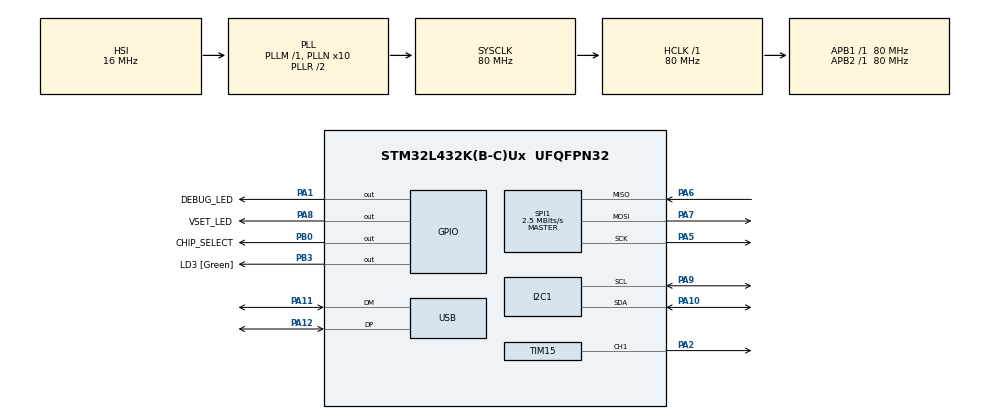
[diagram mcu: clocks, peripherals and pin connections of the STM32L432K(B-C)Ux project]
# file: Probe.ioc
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Dma.Request0=SPI1_RX
Dma.Request1=SPI1_TX
Dma.SPI1_RX.0.Direction=DMA_PERIPH_TO_MEMORY
Dma.SPI1_RX.0.Instance=DMA1_Channel2
Dma.SPI1_RX.0.MemDataAlignment=DMA_MDATAALIGN_BYTE
Dma.SPI1_RX.0.MemInc=DMA_MINC_ENABLE
Dma.SPI1_RX.0.Mode=DMA_NORMAL
Dma.SPI1_RX.0.PeriphDataAlignment=DMA_PDATAALIGN_BYTE
Dma.SPI1_RX.0.PeriphInc=DMA_PINC_DISABLE
Dma.SPI1_RX.0.Priority=DMA_PRIORITY_HIGH
Dma.SPI1_TX.1.Direction=DMA_MEMORY_TO_PERIPH
Dma.SPI1_TX.1.Instance=DMA1_Channel3
Dma.SPI1_TX.1.MemDataAlignment=DMA_MDATAALIGN_BYTE
Dma.SPI1_TX.1.MemInc=DMA_MINC_ENABLE
Dma.SPI1_TX.1.Mode=DMA_NORMAL
Dma.SPI1_TX.1.PeriphDataAlignment=DMA_PDATAALIGN_BYTE
Dma.SPI1_TX.1.PeriphInc=DMA_PINC_DISABLE
Dma.SPI1_TX.1.Priority=DMA_PRIORITY_HIGH
I2C1.Timing=0x10909CEC
Mcu.Family=STM32L4
Mcu.Name=STM32L432K(B-C)Ux
Mcu.Package=UFQFPN32
NVIC.DMA1_Channel2_IRQn=true\:0\:0\:false\:false\:true\:false\:true\:true
NVIC.DMA1_Channel3_IRQn=true\:0\:0\:false\:false\:true\:false\:true\:true
NVIC.PriorityGroup=NVIC_PRIORITYGROUP_4
NVIC.SPI1_IRQn=true\:0\:0\:false\:false\:true\:true\:true\:true
NVIC.USB_IRQn=true\:0\:0\:false\:false\:true\:true\:true\:true
PA0.GPIO_Label=MCO [High speed clock in]
PA0.Mode=HSE-External-Clock-Source-for-LittleOrca
PA0.Signal=RCC_CK_IN
PA1.GPIO_Label=DEBUG_LED
PA1.Signal=GPIO_Output
PA10.Mode=I2C
PA10.Signal=I2C1_SDA
PA11.Mode=Device
PA11.Signal=USB_DM
PA12.Mode=Device
PA12.Signal=USB_DP
PA13\ (JTMS-SWDIO).GPIO_Label=SWDIO
PA13\ (JTMS-SWDIO).Mode=Serial_Wire
PA13\ (JTMS-SWDIO).Signal=SYS_JTMS-SWDIO
PA14\ (JTCK-SWCLK).GPIO_Label=SWCLK
PA14\ (JTCK-SWCLK).Mode=Serial_Wire
PA14\ (JTCK-SWCLK).Signal=SYS_JTCK-SWCLK
PA2.Signal=S_TIM15_CH1
PA5.Mode=Full_Duplex_Master
PA5.Signal=SPI1_SCK
PA6.Mode=Full_Duplex_Master
PA6.Signal=SPI1_MISO
PA7.Mode=Full_Duplex_Master
PA7.Signal=SPI1_MOSI
PA8.GPIO_Label=VSET_LED
PA8.Signal=GPIO_Output
PA9.Mode=I2C
PA9.Signal=I2C1_SCL
PB0.GPIO_Label=CHIP_SELECT
PB0.Signal=GPIO_Output
PB3\ (JTDO-TRACESWO).GPIO_Label=LD3 [Green]
PB3\ (JTDO-TRACESWO).Signal=GPIO_Output
PC14-OSC32_IN\ (PC14).Mode=LSE-External-Oscillator
PC14-OSC32_IN\ (PC14).Signal=RCC_OSC32_IN
PC15-OSC32_OUT\ (PC15).Mode=LSE-External-Oscillator
PC15-OSC32_OUT\ (PC15).Signal=RCC_OSC32_OUT
ProjectManager.HeapSize=0x200
ProjectManager.StackSize=0x400
ProjectManager.TargetToolchain=Makefile
RCC.ADCFreq_Value=64000000
RCC.AHBFreq_Value=80000000
RCC.APB1Freq_Value=80000000
RCC.APB1TimFreq_Value=80000000
RCC.APB2Freq_Value=80000000
RCC.APB2TimFreq_Value=80000000
RCC.CK48CLockSelection=RCC_USBCLKSOURCE_HSI48
RCC.CortexFreq_Value=80000000
RCC.HCLKFreq_Value=80000000
RCC.HSE_VALUE=8000000
RCC.HSI16_VALUE=16000000
RCC.HSI48_VALUE=48000000
RCC.HSI_VALUE=16000000
RCC.MSI_VALUE=4000000
RCC.PLLMUL=RCC_PLLMUL_4
RCC.PLLN=10
RCC.PLLSourceVirtual=RCC_PLLSOURCE_HSI
RCC.SYSCLKFreq_VALUE=80000000
RCC.SYSCLKSource=RCC_SYSCLKSOURCE_PLLCLK
RCC.USBFreq_Value=48000000
RCC.VCOOutputFreq_Value=160000000
SH.S_TIM15_CH1.0=TIM15_CH1,PWM Generation1 CH1
SPI1.BaudRatePrescaler=SPI_BAUDRATEPRESCALER_32
SPI1.CalculateBaudRate=2.5 MBits/s
SPI1.DataSize=SPI_DATASIZE_8BIT
SPI1.Direction=SPI_DIRECTION_2LINES
SPI1.Mode=SPI_MODE_MASTER
SPI1.NSSPMode=SPI_NSS_PULSE_DISABLE
SPI1.VirtualType=VM_MASTER
TIM15.Channel-PWM\ Generation1\ CH1=TIM_CHANNEL_1
TIM15.Period=1000
TIM15.Prescaler=40
TIM15.Pulse-PWM\ Generation1\ CH1=500
VP_TIM15_VS_ClockSourceINT.Mode=Internal
board=NUCLEO-L432KC

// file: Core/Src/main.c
/* USER CODE BEGIN Header */
/**
 ******************************************************************************
 * @file           : main.c
 * @brief          : Main program body
 * @author         : Adam Prochazka <xproch0f>
 ******************************************************************************
 * @attention
 *
 * Code outside of "USER CODE" blocks was generated by STM32CubeMX by STMicroelectronics and was not written by the author.
 *
 ******************************************************************************
 */
/* USER CODE END Header */
#include "main.h"

/* USER CODE BEGIN Includes */
#include "tusb.h"
/* USER CODE END Includes */

I2C_HandleTypeDef hi2c1;

SPI_HandleTypeDef hspi1;
DMA_HandleTypeDef hdma_spi1_rx;
DMA_HandleTypeDef hdma_spi1_tx;

TIM_HandleTypeDef htim15;

PCD_HandleTypeDef hpcd_USB_FS;

/* USER CODE BEGIN PV */

uint16_t DistSensorAddr=0x52;
int status=0;
volatile int IntCount;

#define isInterrupt 0 /* If isInterrupt = 1 then device working in interrupt mode, else device working in polling mode */

int SPI_Rx_Done_Flag = 0;
/* USER CODE END PV */

void SystemClock_Config(void);
static void MX_GPIO_Init(void);
static void MX_DMA_Init(void);
static void MX_SPI1_Init(void);
static void MX_I2C1_Init(void);
static void MX_USB_PCD_Init(void);
static void MX_TIM15_Init(void);

int main(void)
{
  /* USER CODE BEGIN 1 */

  uint16_t Distance = 0;
  uint16_t SignalRate;
  uint16_t AmbientRate;
  uint16_t SpadNum;
  uint8_t RangeStatus;

  /* USER CODE END 1 */

  /* MCU Configuration--------------------------------------------------------*/

  /* Reset of all peripherals, Initializes the Flash interface and the Systick. */
  HAL_Init();

  /* Configure the system clock */
  SystemClock_Config();

  /* Initialize all configured peripherals */
  MX_GPIO_Init();
  MX_DMA_Init();
  MX_SPI1_Init();
  MX_I2C1_Init();
  MX_USB_PCD_Init();
  MX_TIM15_Init();
  /* USER CODE BEGIN 2 */

  // Signalize user that device has started
  LED_On();

  // Enable power to USB, without TinyUSB will not initialize
  HAL_PWREx_EnableVddUSB();
  // Wait for power to stabilize
  HAL_Delay(100);

  // Initialize distance sensor
  status = VL53L1X_SensorInit(DistSensorAddr);

  // Set distance mode of distance sensor for long distance (2)
  status = VL53L1X_SetDistanceMode(DistSensorAddr, 2);

  // Set timing budget for each measurement
  status = VL53L1X_SetTimingBudgetInMs(DistSensorAddr, 100);
  status = VL53L1X_SetInterMeasurementInMs(DistSensorAddr, 100);

  // Start first measurement to wake sensor up
  status = VL53L1X_StartRanging(DistSensorAddr);

  HAL_Delay(1000);

  // Initialize TinyUSB
  tud_init(BOARD_DEVICE_RHPORT_NUM);

  SPI_Init(&hspi1);

  // USB utility function
  tud_task();

  // Define variables for correct frame sending and capturing
  int last_sent_idx = 0;
  int buff_stop_idx = 0;
  uint16_t image_size = 0;
  uint8_t cdc_buff[CDC_BUFF_SIZE+CDC_FRAME_SIZE];
  for(int i = 0; i < (CDC_BUFF_SIZE+CDC_FRAME_SIZE); i++) cdc_buff[i] = 0x00; // Clear frame buffer

  int Laser_LED_Switch = 0; // Variable for switching between LASER and LED

  // Initial states of LED and LASER (LED off, LASER on)
  HAL_GPIO_WritePin(VSET_LED_GPIO_Port, VSET_LED_Pin, GPIO_PIN_RESET);
  HAL_TIM_PWM_Start(&htim15, TIM_CHANNEL_1);

  // Initialize camera module
  Cam_Init(&hi2c1, &hspi1);

  /* USER CODE END 2 */

  /* Infinite loop */
  /* USER CODE BEGIN WHILE */
  while (1)
  {
    // USB utility function
    tud_task();

    // If there wasn't any image captured yet or the last one was sent out completely
    if(buff_stop_idx >= (int)image_size){

      // Reset variables responsible for sending correct amount of received image
      buff_stop_idx = 0;
      last_sent_idx = 0;

      // Get current distance of probe inside the barrel
      VL53L1X_GetDistance(DistSensorAddr, &Distance);

      CS_Off();
      CS_On();

      // Start capturing frame and wait until it is done capturing
      Cam_Capture(&hspi1);

      // Switch between LASER and LED, so the optical output power of diodes has time to stabilize until next capture
      if(Laser_LED_Switch == 1){
        Laser_LED_Switch = 0;
        __HAL_TIM_SET_COMPARE(&htim15, TIM_CHANNEL_1, 40);
        HAL_GPIO_WritePin(VSET_LED_GPIO_Port, VSET_LED_Pin, GPIO_PIN_RESET);
      }
      else{
        Laser_LED_Switch = 1;
        __HAL_TIM_SET_COMPARE(&htim15, TIM_CHANNEL_1, 0);
        HAL_GPIO_WritePin(VSET_LED_GPIO_Port, VSET_LED_Pin, GPIO_PIN_SET);
      }

      // Get size of captured image, so that correct number of bytec can be read from camera and sent out
      image_size = Cam_FIFO_length(&hspi1);

      // Activate burst read out mode of camera module (no need for requesting each byte individually)
      Cam_Start_Burst_Read(&hspi1);

      continue;
    }

    // Image has not been completely sent out
    else {

      // Variable to save number of bytes that should be read from camera module
      int number_to_read = 0;

      // Determine how many bytes should be read from camera module - Is remaining image data to be read larger or smaller than framebuffer?
      if((buff_stop_idx + CDC_BUFF_SIZE) > (int) image_size){
        number_to_read = (int) image_size - buff_stop_idx;
      }
      else{
        number_to_read = CDC_BUFF_SIZE;
      }

      // Read determined amount of bytes from camera in blocking mode
      HAL_SPI_Receive(&hspi1, cdc_buff, number_to_read, HAL_MAX_DELAY);

      // Increment index of already read buffer data
      buff_stop_idx = buff_stop_idx + number_to_read;
    }

    // Variable to store how many bytes were sent during this iteration
    int current_sending_idx = 0;

    // Inform user that image data transfer started
    LED_On();

    // Loop to send all image data inside cdc_buff in small CDC chunks
    do{

      // USB utility function - has to be called between each cdc_write_flush()
      tud_task();

      // How many bytes should be send in current CDC block
      int sendLen = CDC_FRAME_SIZE;
      if(last_sent_idx + CDC_FRAME_SIZE > buff_stop_idx){
        sendLen = buff_stop_idx - last_sent_idx;
      }

      // Select bytes, that will be send during next CDC transfer
      tud_cdc_write(&cdc_buff[current_sending_idx], sendLen);

      // Increment index of data to be sent for next loop iteration
      current_sending_idx = current_sending_idx + sendLen;
      last_sent_idx = last_sent_idx + sendLen;

      // Transfer selected data through CDC
      tud_cdc_write_flush();

      //Delay between sends - necessary for USB synchronization
      int i = 0;
      for(;i<4000;i++);
    }
    // Repeat until all data from buffer has been sent
    while(last_sent_idx < buff_stop_idx);

    //  If whole image has been sent, send distance data of where image was captured
    if(buff_stop_idx >= (int)image_size){

      // Delay for synchronization
      HAL_Delay(20);

      // USB utility function - has to be called, because it wasnt called after last tud_cdc_write_flush()
      tud_task();

      // Format distance data between predefined header and footer, for clear decoding by receiver
      uint8_t distance_buff[12];
      distance_buff[0] = 0xff;
      distance_buff[1] = 0xff;
      distance_buff[2] = 0xff;
      distance_buff[3] = 0x69;
      distance_buff[4] = (uint8_t)(Distance >> 8);
      distance_buff[5] = (Distance & 0xff);
      distance_buff[6] = 0xff;
      distance_buff[7] = 0x69;
      distance_buff[8] = 0xff;
      distance_buff[9] = 0xff;
      distance_buff[10] = '\n';
      distance_buff[11] = '\r';

      // Prepare to send formatted distance data of image through CDC
      tud_cdc_write(&distance_buff[0], 12);

      // Necessary delay for synchronization
      HAL_Delay(1);

      // Transfer prepared Distance data through CDC
      tud_cdc_write_flush();

      // Necessary delay for synchronization
      HAL_Delay(1);

      // USB utility function - after write_flush()
      tud_task();
    }

    // Inform user that transfer has been completed
    LED_Off();

    /* USER CODE END WHILE */

  }
}

void SystemClock_Config(void)
{
  RCC_OscInitTypeDef RCC_OscInitStruct = {0};
  RCC_ClkInitTypeDef RCC_ClkInitStruct = {0};

  /** Configure the main internal regulator output voltage
  */
  if (HAL_PWREx_ControlVoltageScaling(PWR_REGULATOR_VOLTAGE_SCALE1) != HAL_OK)
  {
    Error_Handler();
  }

  /** Initializes the RCC Oscillators according to the specified parameters
  * in the RCC_OscInitTypeDef structure.
  */
  RCC_OscInitStruct.OscillatorType = RCC_OSCILLATORTYPE_HSI48|RCC_OSCILLATORTYPE_HSI;
  RCC_OscInitStruct.HSIState = RCC_HSI_ON;
  RCC_OscInitStruct.HSI48State = RCC_HSI48_ON;
  RCC_OscInitStruct.HSICalibrationValue = RCC_HSICALIBRATION_DEFAULT;
  RCC_OscInitStruct.PLL.PLLState = RCC_PLL_ON;
  RCC_OscInitStruct.PLL.PLLSource = RCC_PLLSOURCE_HSI;
  RCC_OscInitStruct.PLL.PLLM = 1;
  RCC_OscInitStruct.PLL.PLLN = 10;
  RCC_OscInitStruct.PLL.PLLP = RCC_PLLP_DIV7;
  RCC_OscInitStruct.PLL.PLLQ = RCC_PLLQ_DIV2;
  RCC_OscInitStruct.PLL.PLLR = RCC_PLLR_DIV2;
  if (HAL_RCC_OscConfig(&RCC_OscInitStruct) != HAL_OK)
  {
    Error_Handler();
  }

  /** Initializes the CPU, AHB and APB buses clocks
  */
  RCC_ClkInitStruct.ClockType = RCC_CLOCKTYPE_HCLK|RCC_CLOCKTYPE_SYSCLK
                              |RCC_CLOCKTYPE_PCLK1|RCC_CLOCKTYPE_PCLK2;
  RCC_ClkInitStruct.SYSCLKSource = RCC_SYSCLKSOURCE_PLLCLK;
  RCC_ClkInitStruct.AHBCLKDivider = RCC_SYSCLK_DIV1;
  RCC_ClkInitStruct.APB1CLKDivider = RCC_HCLK_DIV1;
  RCC_ClkInitStruct.APB2CLKDivider = RCC_HCLK_DIV1;

  if (HAL_RCC_ClockConfig(&RCC_ClkInitStruct, FLASH_LATENCY_4) != HAL_OK)
  {
    Error_Handler();
  }
}

static void MX_I2C1_Init(void)
{

  hi2c1.Instance = I2C1;
  hi2c1.Init.Timing = 0x10909CEC;
  hi2c1.Init.OwnAddress1 = 0;
  hi2c1.Init.AddressingMode = I2C_ADDRESSINGMODE_7BIT;
  hi2c1.Init.DualAddressMode = I2C_DUALADDRESS_DISABLE;
  hi2c1.Init.OwnAddress2 = 0;
  hi2c1.Init.OwnAddress2Masks = I2C_OA2_NOMASK;
  hi2c1.Init.GeneralCallMode = I2C_GENERALCALL_DISABLE;
  hi2c1.Init.NoStretchMode = I2C_NOSTRETCH_DISABLE;
  if (HAL_I2C_Init(&hi2c1) != HAL_OK)
  {
    Error_Handler();
  }

  /** Configure Analogue filter
  */
  if (HAL_I2CEx_ConfigAnalogFilter(&hi2c1, I2C_ANALOGFILTER_ENABLE) != HAL_OK)
  {
    Error_Handler();
  }

  /** Configure Digital filter
  */
  if (HAL_I2CEx_ConfigDigitalFilter(&hi2c1, 0) != HAL_OK)
  {
    Error_Handler();
  }

}

static void MX_SPI1_Init(void)
{

  /* SPI1 parameter configuration*/
  hspi1.Instance = SPI1;
  hspi1.Init.Mode = SPI_MODE_MASTER;
  hspi1.Init.Direction = SPI_DIRECTION_2LINES;
  hspi1.Init.DataSize = SPI_DATASIZE_8BIT;
  hspi1.Init.CLKPolarity = SPI_POLARITY_LOW;
  hspi1.Init.CLKPhase = SPI_PHASE_1EDGE;
  hspi1.Init.NSS = SPI_NSS_SOFT;
  hspi1.Init.BaudRatePrescaler = SPI_BAUDRATEPRESCALER_32;
  hspi1.Init.FirstBit = SPI_FIRSTBIT_MSB;
  hspi1.Init.TIMode = SPI_TIMODE_DISABLE;
  hspi1.Init.CRCCalculation = SPI_CRCCALCULATION_DISABLE;
  hspi1.Init.CRCPolynomial = 7;
  hspi1.Init.CRCLength = SPI_CRC_LENGTH_DATASIZE;
  hspi1.Init.NSSPMode = SPI_NSS_PULSE_DISABLE;
  if (HAL_SPI_Init(&hspi1) != HAL_OK)
  {
    Error_Handler();
  }

}

static void MX_TIM15_Init(void)
{

  TIM_ClockConfigTypeDef sClockSourceConfig = {0};
  TIM_MasterConfigTypeDef sMasterConfig = {0};
  TIM_OC_InitTypeDef sConfigOC = {0};
  TIM_BreakDeadTimeConfigTypeDef sBreakDeadTimeConfig = {0};

  htim15.Instance = TIM15;
  htim15.Init.Prescaler = 40;
  htim15.Init.CounterMode = TIM_COUNTERMODE_UP;
  htim15.Init.Period = 1000;
  htim15.Init.ClockDivision = TIM_CLOCKDIVISION_DIV1;
  htim15.Init.RepetitionCounter = 0;
  htim15.Init.AutoReloadPreload = TIM_AUTORELOAD_PRELOAD_DISABLE;
  if (HAL_TIM_Base_Init(&htim15) != HAL_OK)
  {
    Error_Handler();
  }
  sClockSourceConfig.ClockSource = TIM_CLOCKSOURCE_INTERNAL;
  if (HAL_TIM_ConfigClockSource(&htim15, &sClockSourceConfig) != HAL_OK)
  {
    Error_Handler();
  }
  if (HAL_TIM_PWM_Init(&htim15) != HAL_OK)
  {
    Error_Handler();
  }
  sMasterConfig.MasterOutputTrigger = TIM_TRGO_RESET;
  sMasterConfig.MasterSlaveMode = TIM_MASTERSLAVEMODE_DISABLE;
  if (HAL_TIMEx_MasterConfigSynchronization(&htim15, &sMasterConfig) != HAL_OK)
  {
    Error_Handler();
  }
  sConfigOC.OCMode = TIM_OCMODE_PWM1;
  sConfigOC.Pulse = 500;
  sConfigOC.OCPolarity = TIM_OCPOLARITY_HIGH;
  sConfigOC.OCNPolarity = TIM_OCNPOLARITY_HIGH;
  sConfigOC.OCFastMode = TIM_OCFAST_DISABLE;
  sConfigOC.OCIdleState = TIM_OCIDLESTATE_RESET;
  sConfigOC.OCNIdleState = TIM_OCNIDLESTATE_RESET;
  if (HAL_TIM_PWM_ConfigChannel(&htim15, &sConfigOC, TIM_CHANNEL_1) != HAL_OK)
  {
    Error_Handler();
  }
  sBreakDeadTimeConfig.OffStateRunMode = TIM_OSSR_DISABLE;
  sBreakDeadTimeConfig.OffStateIDLEMode = TIM_OSSI_DISABLE;
  sBreakDeadTimeConfig.LockLevel = TIM_LOCKLEVEL_OFF;
  sBreakDeadTimeConfig.DeadTime = 0;
  sBreakDeadTimeConfig.BreakState = TIM_BREAK_DISABLE;
  sBreakDeadTimeConfig.BreakPolarity = TIM_BREAKPOLARITY_HIGH;
  sBreakDeadTimeConfig.AutomaticOutput = TIM_AUTOMATICOUTPUT_DISABLE;
  if (HAL_TIMEx_ConfigBreakDeadTime(&htim15, &sBreakDeadTimeConfig) != HAL_OK)
  {
    Error_Handler();
  }
  HAL_TIM_MspPostInit(&htim15);

}

static void MX_USB_PCD_Init(void)
{

  hpcd_USB_FS.Instance = USB;
  hpcd_USB_FS.Init.dev_endpoints = 8;
  hpcd_USB_FS.Init.speed = PCD_SPEED_FULL;
  hpcd_USB_FS.Init.phy_itface = PCD_PHY_EMBEDDED;
  hpcd_USB_FS.Init.Sof_enable = DISABLE;
  hpcd_USB_FS.Init.low_power_enable = DISABLE;
  hpcd_USB_FS.Init.lpm_enable = DISABLE;
  hpcd_USB_FS.Init.battery_charging_enable = DISABLE;
  if (HAL_PCD_Init(&hpcd_USB_FS) != HAL_OK)
  {
    Error_Handler();
  }

}

static void MX_DMA_Init(void)
{

  /* DMA controller clock enable */
  __HAL_RCC_DMA1_CLK_ENABLE();

  /* DMA interrupt init */
  /* DMA1_Channel2_IRQn interrupt configuration */
  HAL_NVIC_SetPriority(DMA1_Channel2_IRQn, 0, 0);
  HAL_NVIC_EnableIRQ(DMA1_Channel2_IRQn);
  /* DMA1_Channel3_IRQn interrupt configuration */
  HAL_NVIC_SetPriority(DMA1_Channel3_IRQn, 0, 0);
  HAL_NVIC_EnableIRQ(DMA1_Channel3_IRQn);

}

static void MX_GPIO_Init(void)
{
  GPIO_InitTypeDef GPIO_InitStruct = {0};

  /* GPIO Ports Clock Enable */
  __HAL_RCC_GPIOC_CLK_ENABLE();
  __HAL_RCC_GPIOA_CLK_ENABLE();
  __HAL_RCC_GPIOB_CLK_ENABLE();

  /*Configure GPIO pin Output Level */
  HAL_GPIO_WritePin(GPIOA, DEBUG_LED_Pin|VSET_LED_Pin, GPIO_PIN_RESET);

  /*Configure GPIO pin Output Level */
  HAL_GPIO_WritePin(GPIOB, CHIP_SELECT_Pin|LD3_Pin, GPIO_PIN_RESET);

  /*Configure GPIO pins : DEBUG_LED_Pin VSET_LED_Pin */
  GPIO_InitStruct.Pin = DEBUG_LED_Pin|VSET_LED_Pin;
  GPIO_InitStruct.Mode = GPIO_MODE_OUTPUT_PP;
  GPIO_InitStruct.Pull = GPIO_NOPULL;
  GPIO_InitStruct.Speed = GPIO_SPEED_FREQ_LOW;
  HAL_GPIO_Init(GPIOA, &GPIO_InitStruct);

  /*Configure GPIO pins : CHIP_SELECT_Pin LD3_Pin */
  GPIO_InitStruct.Pin = CHIP_SELECT_Pin|LD3_Pin;
  GPIO_InitStruct.Mode = GPIO_MODE_OUTPUT_PP;
  GPIO_InitStruct.Pull = GPIO_NOPULL;
  GPIO_InitStruct.Speed = GPIO_SPEED_FREQ_LOW;
  HAL_GPIO_Init(GPIOB, &GPIO_InitStruct);

}

/* USER CODE BEGIN 4 */
void HAL_SPI_RxCpltCallback(SPI_HandleTypeDef *hspi)
{
  SPI_Rx_Done_Flag = 1;
}

/* USER CODE END 4 */

void Error_Handler(void)
{
  __disable_irq();
  while (1)
  {
  }
}
